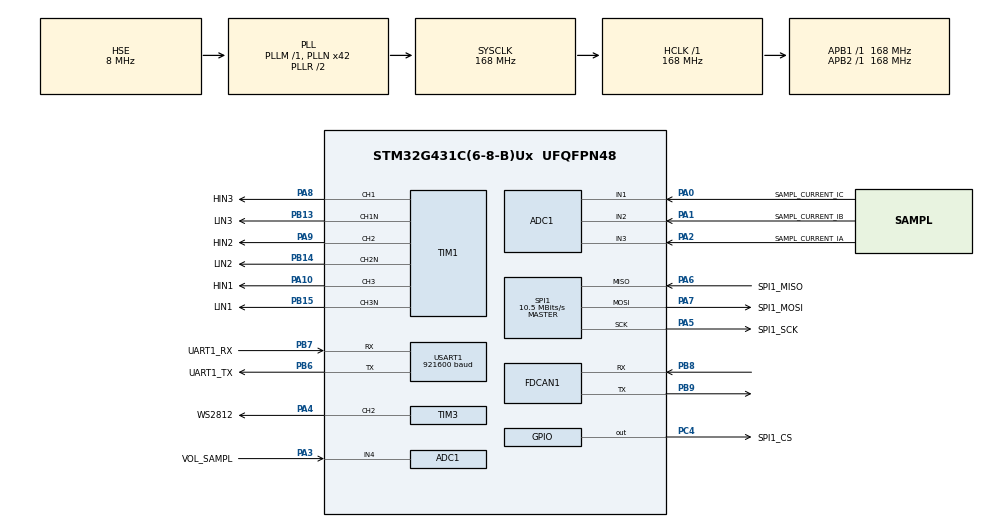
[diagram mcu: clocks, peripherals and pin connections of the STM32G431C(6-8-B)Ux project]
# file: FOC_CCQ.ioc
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ADC1.ContinuousConvMode=DISABLE
ADC1.DMAContinuousRequests=DISABLE
ADC1.EnableInjectedConversion=ENABLE
ADC1.EnableRegularConversion=DISABLE
ADC1.ExternalTrigInjecConv=ADC_EXTERNALTRIGINJEC_T1_CC4
ADC1.InjNumberOfConversion=4
ADC1.InjectedChannel-6\#ChannelInjectedConversion=ADC_CHANNEL_1
ADC1.InjectedChannel-7\#ChannelInjectedConversion=ADC_CHANNEL_2
ADC1.InjectedChannel-8\#ChannelInjectedConversion=ADC_CHANNEL_3
ADC1.InjectedChannel-9\#ChannelInjectedConversion=ADC_CHANNEL_4
ADC1.InjectedOffsetNumber-6\#ChannelInjectedConversion=ADC_OFFSET_NONE
ADC1.InjectedOffsetNumber-7\#ChannelInjectedConversion=ADC_OFFSET_NONE
ADC1.InjectedOffsetNumber-8\#ChannelInjectedConversion=ADC_OFFSET_NONE
ADC1.InjectedOffsetNumber-9\#ChannelInjectedConversion=ADC_OFFSET_NONE
ADC1.InjectedRank-6\#ChannelInjectedConversion=1
ADC1.InjectedRank-7\#ChannelInjectedConversion=2
ADC1.InjectedRank-8\#ChannelInjectedConversion=3
ADC1.InjectedRank-9\#ChannelInjectedConversion=4
ADC1.InjectedSamplingTime-6\#ChannelInjectedConversion=ADC_SAMPLETIME_6CYCLES_5
ADC1.InjectedSamplingTime-7\#ChannelInjectedConversion=ADC_SAMPLETIME_6CYCLES_5
ADC1.InjectedSamplingTime-8\#ChannelInjectedConversion=ADC_SAMPLETIME_6CYCLES_5
ADC1.InjectedSamplingTime-9\#ChannelInjectedConversion=ADC_SAMPLETIME_6CYCLES_5
ADC1.Rank1_Channel=ADC_CHANNEL_1
ADC1.Rank2_Channel=ADC_CHANNEL_2
ADC1.Rank3_Channel=ADC_CHANNEL_3
ADC1.Rank4_Channel=ADC_CHANNEL_4
ADC1.master=1
Dma.Request0=USART1_RX
Dma.Request1=USART1_TX
Dma.Request2=TIM3_CH2
Dma.TIM3_CH2.2.Direction=DMA_MEMORY_TO_PERIPH
Dma.TIM3_CH2.2.EventEnable=DISABLE
Dma.TIM3_CH2.2.Instance=DMA1_Channel1
Dma.TIM3_CH2.2.MemDataAlignment=DMA_MDATAALIGN_WORD
Dma.TIM3_CH2.2.MemInc=DMA_MINC_ENABLE
Dma.TIM3_CH2.2.Mode=DMA_NORMAL
Dma.TIM3_CH2.2.PeriphDataAlignment=DMA_PDATAALIGN_WORD
Dma.TIM3_CH2.2.PeriphInc=DMA_PINC_DISABLE
Dma.TIM3_CH2.2.Polarity=HAL_DMAMUX_REQ_GEN_RISING
Dma.TIM3_CH2.2.Priority=DMA_PRIORITY_MEDIUM
Dma.TIM3_CH2.2.RequestNumber=1
Dma.TIM3_CH2.2.SignalID=NONE
Dma.TIM3_CH2.2.SyncEnable=DISABLE
Dma.TIM3_CH2.2.SyncPolarity=HAL_DMAMUX_SYNC_NO_EVENT
Dma.TIM3_CH2.2.SyncRequestNumber=1
Dma.TIM3_CH2.2.SyncSignalID=NONE
Dma.USART1_RX.0.Direction=DMA_PERIPH_TO_MEMORY
Dma.USART1_RX.0.EventEnable=DISABLE
Dma.USART1_RX.0.Instance=DMA1_Channel3
Dma.USART1_RX.0.MemDataAlignment=DMA_MDATAALIGN_BYTE
Dma.USART1_RX.0.MemInc=DMA_MINC_ENABLE
Dma.USART1_RX.0.Mode=DMA_CIRCULAR
Dma.USART1_RX.0.PeriphDataAlignment=DMA_PDATAALIGN_BYTE
Dma.USART1_RX.0.PeriphInc=DMA_PINC_DISABLE
Dma.USART1_RX.0.Polarity=HAL_DMAMUX_REQ_GEN_RISING
Dma.USART1_RX.0.Priority=DMA_PRIORITY_HIGH
Dma.USART1_RX.0.RequestNumber=1
Dma.USART1_RX.0.SignalID=NONE
Dma.USART1_RX.0.SyncEnable=DISABLE
Dma.USART1_RX.0.SyncPolarity=HAL_DMAMUX_SYNC_NO_EVENT
Dma.USART1_RX.0.SyncRequestNumber=1
Dma.USART1_RX.0.SyncSignalID=NONE
Dma.USART1_TX.1.Direction=DMA_MEMORY_TO_PERIPH
Dma.USART1_TX.1.EventEnable=DISABLE
Dma.USART1_TX.1.Instance=DMA1_Channel4
Dma.USART1_TX.1.MemDataAlignment=DMA_MDATAALIGN_BYTE
Dma.USART1_TX.1.MemInc=DMA_MINC_ENABLE
Dma.USART1_TX.1.Mode=DMA_NORMAL
Dma.USART1_TX.1.PeriphDataAlignment=DMA_PDATAALIGN_BYTE
Dma.USART1_TX.1.PeriphInc=DMA_PINC_DISABLE
Dma.USART1_TX.1.Polarity=HAL_DMAMUX_REQ_GEN_RISING
Dma.USART1_TX.1.Priority=DMA_PRIORITY_HIGH
Dma.USART1_TX.1.RequestNumber=1
Dma.USART1_TX.1.SignalID=NONE
Dma.USART1_TX.1.SyncEnable=DISABLE
Dma.USART1_TX.1.SyncPolarity=HAL_DMAMUX_SYNC_NO_EVENT
Dma.USART1_TX.1.SyncRequestNumber=1
Dma.USART1_TX.1.SyncSignalID=NONE
FDCAN1.AutoRetransmission=ENABLE
FDCAN1.CalculateBaudRateNominal=1000000
FDCAN1.CalculateTimeBitNominal=1000
FDCAN1.CalculateTimeQuantumNominal=35.714285714285715
FDCAN1.DataPrescaler=6
FDCAN1.DataSyncJumpWidth=7
FDCAN1.DataTimeSeg1=20
FDCAN1.DataTimeSeg2=7
FDCAN1.FrameFormat=FDCAN_FRAME_FD_NO_BRS
FDCAN1.NominalPrescaler=6
FDCAN1.NominalSyncJumpWidth=7
FDCAN1.NominalTimeSeg1=20
FDCAN1.NominalTimeSeg2=7
FDCAN1.ProtocolException=ENABLE
FDCAN1.StdFiltersNbr=1
Mcu.Family=STM32G4
Mcu.Name=STM32G431C(6-8-B)Ux
Mcu.Package=UFQFPN48
Mcu.UserConstants=MCPWM_CLOCK_HZ,168000000;MCPWM_DEADTIME_CLOCKS,20;MCPWM_TGRO_TIME,MCPWM_PERIOD_CLOCKS-10;MCPWM_RCR,0;MCPWM_FREQ,20000;MCPWM_PERIOD_CLOCKS,MCPWM_CLOCK_HZ/2/MCPWM_FREQ
NVIC.ADC1_2_IRQn=true\:5\:0\:true\:false\:true\:true\:true\:true
NVIC.DMA1_Channel1_IRQn=true\:5\:0\:true\:false\:true\:true\:true\:true
NVIC.DMA1_Channel3_IRQn=true\:5\:0\:true\:false\:true\:false\:true\:true
NVIC.DMA1_Channel4_IRQn=true\:5\:0\:true\:false\:true\:true\:true\:true
NVIC.FDCAN1_IT0_IRQn=true\:6\:0\:true\:false\:true\:true\:true\:true
NVIC.FDCAN1_IT1_IRQn=true\:6\:0\:true\:false\:true\:true\:true\:true
NVIC.PriorityGroup=NVIC_PRIORITYGROUP_4
NVIC.TIM1_TRG_COM_TIM17_IRQn=true\:15\:0\:true\:false\:true\:true\:true\:true
NVIC.USART1_IRQn=true\:7\:0\:true\:false\:true\:true\:true\:true
PA0.GPIO_Label=SAMPL_CURRENT_IC
PA0.Mode=IN1-Single-Ended
PA0.Signal=ADC1_IN1
PA1.GPIO_Label=SAMPL_CURRENT_IB
PA1.Mode=IN2-Single-Ended
PA1.Signal=ADC1_IN2
PA10.GPIO_Label=HIN1
PA10.Signal=S_TIM1_CH3
PA13.Mode=Serial_Wire
PA13.Signal=SYS_JTMS-SWDIO
PA14.Mode=Serial_Wire
PA14.Signal=SYS_JTCK-SWCLK
PA2.GPIO_Label=SAMPL_CURRENT_IA
PA2.Mode=IN3-Single-Ended
PA2.Signal=ADC1_IN3
PA3.GPIO_Label=VOL_SAMPL
PA3.Mode=IN4-Single-Ended
PA3.Signal=ADC1_IN4
PA4.GPIO_Label=WS2812
PA4.Signal=S_TIM3_CH2
PA5.GPIO_Label=SPI1_SCK
PA5.GPIO_PuPd=GPIO_PULLUP
PA5.GPIO_Speed=GPIO_SPEED_FREQ_HIGH
PA5.Mode=Full_Duplex_Master
PA5.Signal=SPI1_SCK
PA6.GPIO_Label=SPI1_MISO
PA6.GPIO_PuPd=GPIO_PULLUP
PA6.GPIO_Speed=GPIO_SPEED_FREQ_HIGH
PA6.Mode=Full_Duplex_Master
PA6.Signal=SPI1_MISO
PA7.GPIO_Label=SPI1_MOSI
PA7.GPIO_PuPd=GPIO_PULLUP
PA7.GPIO_Speed=GPIO_SPEED_FREQ_HIGH
PA7.Mode=Full_Duplex_Master
PA7.Signal=SPI1_MOSI
PA8.GPIO_Label=HIN3
PA8.Signal=S_TIM1_CH1
PA9.GPIO_Label=HIN2
PA9.Signal=S_TIM1_CH2
PB13.GPIO_Label=LIN3
PB13.Mode=PWM Generation1 CH1 CH1N
PB13.Signal=TIM1_CH1N
PB14.GPIO_Label=LIN2
PB14.Mode=PWM Generation2 CH2 CH2N
PB14.Signal=TIM1_CH2N
PB15.GPIO_Label=LIN1
PB15.Mode=PWM Generation3 CH3 CH3N
PB15.Signal=TIM1_CH3N
PB6.GPIO_FM6=__NULL
PB6.GPIO_Label=UART1_TX
PB6.GPIO_Speed=GPIO_SPEED_FREQ_VERY_HIGH
PB6.Mode=Asynchronous
PB6.Signal=USART1_TX
PB7.GPIO_Label=UART1_RX
PB7.GPIO_Speed=GPIO_SPEED_FREQ_VERY_HIGH
PB7.Mode=Asynchronous
PB7.Signal=USART1_RX
PB8-BOOT0.GPIO_Speed=GPIO_SPEED_FREQ_VERY_HIGH
PB8-BOOT0.Mode=FDCAN_Activate
PB8-BOOT0.Signal=FDCAN1_RX
PB9.GPIO_Speed=GPIO_SPEED_FREQ_VERY_HIGH
PB9.Mode=FDCAN_Activate
PB9.Signal=FDCAN1_TX
PC4.GPIO_Label=SPI1_CS
PC4.GPIO_ModeDefaultOutputPP=GPIO_MODE_OUTPUT_PP
PC4.GPIO_PuPd=GPIO_NOPULL
PC4.GPIO_Speed=GPIO_SPEED_FREQ_VERY_HIGH
PC4.PinState=GPIO_PIN_RESET
PC4.Signal=GPIO_Output
PF0-OSC_IN.Mode=HSE-External-Oscillator
PF0-OSC_IN.Signal=RCC_OSC_IN
PF1-OSC_OUT.Mode=HSE-External-Oscillator
PF1-OSC_OUT.Signal=RCC_OSC_OUT
ProjectManager.HeapSize=0x200
ProjectManager.StackSize=0x400
ProjectManager.TargetToolchain=CMake
RCC.ADC12Freq_Value=168000000
RCC.AHBFreq_Value=168000000
RCC.APB1Freq_Value=168000000
RCC.APB1TimFreq_Value=168000000
RCC.APB2Freq_Value=168000000
RCC.APB2TimFreq_Value=168000000
RCC.CortexFreq_Value=168000000
RCC.EXTERNAL_CLOCK_VALUE=12288000
RCC.HCLKFreq_Value=168000000
RCC.HSE_VALUE=8000000
RCC.HSI48_VALUE=48000000
RCC.HSI_VALUE=16000000
RCC.LSE_VALUE=32768
RCC.PLLN=42
RCC.PLLSourceVirtual=RCC_PLLSOURCE_HSE
RCC.SYSCLKFreq_VALUE=168000000
RCC.SYSCLKSource=RCC_SYSCLKSOURCE_PLLCLK
RCC.USBFreq_Value=168000000
RCC.VCOOutputFreq_Value=336000000
SH.S_TIM1_CH1.0=TIM1_CH1,PWM Generation1 CH1 CH1N
SH.S_TIM1_CH2.0=TIM1_CH2,PWM Generation2 CH2 CH2N
SH.S_TIM1_CH3.0=TIM1_CH3,PWM Generation3 CH3 CH3N
SH.S_TIM3_CH2.0=TIM3_CH2,PWM Generation2 CH2
SPI1.BaudRatePrescaler=SPI_BAUDRATEPRESCALER_16
SPI1.CLKPhase=SPI_PHASE_2EDGE
SPI1.CLKPolarity=SPI_POLARITY_HIGH
SPI1.CalculateBaudRate=10.5 MBits/s
SPI1.DataSize=SPI_DATASIZE_8BIT
SPI1.Direction=SPI_DIRECTION_2LINES
SPI1.Mode=SPI_MODE_MASTER
SPI1.VirtualType=VM_MASTER
STMicroelectronics.FP-SNS-STAIOTCFT.1.1.0.MathOoLibCcCMSISJjDSPJjInclude=true
STMicroelectronics.FP-SNS-STAIOTCFT.1.1.0.MathOoLibCcCMSISJjDSPJjLib=true
TIM1.AutoReloadPreload=TIM_AUTORELOAD_PRELOAD_DISABLE
TIM1.BreakState=TIM_BREAK_DISABLE
TIM1.Channel-PWM\ Generation1\ CH1\ CH1N=TIM_CHANNEL_1
TIM1.Channel-PWM\ Generation2\ CH2\ CH2N=TIM_CHANNEL_2
TIM1.Channel-PWM\ Generation3\ CH3\ CH3N=TIM_CHANNEL_3
TIM1.Channel-PWM\ Generation4\ No\ Output=TIM_CHANNEL_4
TIM1.CounterMode=TIM_COUNTERMODE_CENTERALIGNED1
TIM1.DeadTime=MCPWM_DEADTIME_CLOCKS
TIM1.PeriodNoDither=MCPWM_PERIOD_CLOCKS
TIM1.PulseNoDither_4=MCPWM_TGRO_TIME
TIM1.RepetitionCounter=MCPWM_RCR
TIM1.TIM_MasterOutputTrigger=TIM_TRGO_OC4REF
TIM3.Channel-PWM\ Generation2\ CH2=TIM_CHANNEL_2
TIM3.PeriodNoDither=209
USART1.BaudRate=921600
USART1.VirtualMode-Asynchronous=VM_ASYNC
VP_STMicroelectronics.FP-SNS-STAIOTCFT_VS_CMSISJjMathOoLib_1.0.0_1.1.0.Mode=CMSISJjMathOoLib
VP_SYS_VS_DBSignals.Mode=DisableDeadBatterySignals
VP_TIM1_VS_no_output4.Mode=PWM Generation4 No Output
VP_TIM3_VS_ClockSourceINT.Mode=Internal
board=custom

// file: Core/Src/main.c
/* USER CODE BEGIN Header */
/**
 ******************************************************************************
 * @file           : main.c
 * @brief          : Main program body
 ******************************************************************************
 * @attention
 *
 * Copyright (c) 2026 STMicroelectronics.
 * All rights reserved.
 *
 * This software is licensed under terms that can be found in the LICENSE file
 * in the root directory of this software component.
 * If no LICENSE file comes with this software, it is provided AS-IS.
 *
 ******************************************************************************
 */
/* USER CODE END Header */
#include "main.h"
#include "adc.h"
#include "dma.h"
#include "fdcan.h"
#include "spi.h"
#include "tim.h"
#include "usart.h"
#include "gpio.h"

/* USER CODE BEGIN Includes */
#include "dwt.h"
#include "stmflash.h"
#include "ws2812.h"
#include "usart_printf.h"
#include "serial_control.h"
#include "motor_control.h"
#include "fdcan_control.h"
/* USER CODE END Includes */

void SystemClock_Config(void);
/* USER CODE BEGIN PFP */
void flash_init(void);
/* USER CODE END PFP */

int main(void)
{

  /* USER CODE BEGIN 1 */
  uint32_t state_i = 0;
  /* USER CODE END 1 */

  /* MCU Configuration--------------------------------------------------------*/

  /* Reset of all peripherals, Initializes the Flash interface and the Systick. */
  HAL_Init();

  /* Configure the system clock */
  SystemClock_Config();

  /* USER CODE BEGIN SysInit */
  flash_init(); // 初始化Flash
  /* USER CODE END SysInit */

  /* Initialize all configured peripherals */
  MX_GPIO_Init();
  MX_DMA_Init();
  MX_USART1_UART_Init();
  MX_TIM3_Init();
  MX_SPI1_Init();
  MX_ADC1_Init();
  MX_TIM1_Init();
  MX_FDCAN1_Init();
  /* USER CODE BEGIN 2 */
  DWT_Init(168);
  RGB_SetBrightness(15);                                  // 设置LED亮度
  RGB_DisplayColorById(GREEN_F);                            // 点亮RGB初始状态
  UART_StartRX_DMA();                                                 // 启动串口DMA循环接收
  UART_RegisterProtocolCallback(Protocol_CommandHandler);   // 注册协议命令回调
  Motor_StartControl();                                               // 启动PWM输出并开启注入式ADC采样

  FDCAN_Init();
  /* USER CODE END 2 */

  /* Infinite loop */
  /* USER CODE BEGIN WHILE */

  /* 第一次启动时写入FLASH */
  if (motor.foc.flash_data.first_run != 0)
  {
    motor.foc.flash_data.first_run = 0;
    stmflash_write(FLASH_ADDR, (uint32_t *)&motor.foc.flash_data, sizeof(motor.foc.flash_data) / 4);
    motor.State_Mode = STATE_MODE_RUNNING;    // 初始化之后切换到运行模式
    RGB_DisplayColorById(GREEN_F);   // 校准完成后显示绿色
  }

  /* 输出启动信息 */
  UART_Printf_DMA("\r\n=======================================\r\n");
  UART_Printf_DMA("  MY-FOC Serial Protocol Ready\r\n");
  UART_Printf_DMA("  Type $HELP for available commands\r\n");
  UART_Printf_DMA("=======================================\r\n");

  while (1)
  {
    /* USER CODE END WHILE */

    /* USER CODE BEGIN 3 */
    state_i++;

    UART_ProtocolProcess(); // 处理串口协议（检查是否有完整行到达）
    /* 每 100 ms 执行一次 */
    if ((state_i % 10U) == 0U)
    {

    }

    /* 每 1 s 执行一次 */
    if ((state_i % 100U) == 0U)
    {

      /*========================== 处理数据接收完成标志位 ===========================*/
      if (command_flag.data_received != 0)
      {
        command_flag.data_received = 0;

        /* 恢复出厂设置 */
        if (command_flag.reset != 0)
        {
          motor.foc.flash_data.first_run = 1;
          stmflash_write(FLASH_ADDR, (uint32_t *)&motor.foc.flash_data, sizeof(motor.foc.flash_data) / 4);
        }

        /* 检查是否需要写入FLASH */
        if (command_flag.flash_control != 0)
        {
          stmflash_write(FLASH_ADDR, (uint32_t *)&motor.foc.flash_data, sizeof(motor.foc.flash_data) / 4);
          command_flag.flash_control = 0;
        }
      }

      /*========================== CAN 每秒上报当前位置 ==========================*/
      {
          union { float f; uint8_t b[4]; } pos_val;
          pos_val.f = motor.foc.pos_fb;
          FDCAN_SendParamRsp(PARAM_POS_FB, pos_val.b, RSP_OK);
      }

      /*==========================心跳灯控制==========================*/
      switch (motor.State_Mode)
      {
        case STATE_MODE_IDLE:
          RGB_DisplayColorById(BLUE_F);   // 空闲状态显示蓝色
          break;
        case STATE_MODE_DETECTING:
          RGB_DisplayColorById(RED_F);    // 检测状态显示红色
          break;
        case STATE_MODE_RUNNING:                    // 运行状态绿色闪烁
          RGB_ToggleGreen();
          break;
        default:
          break;
      }
      state_i = 0U;
    }
    DWT_Delay_ms(10);
  }
  /* USER CODE END 3 */
}

void SystemClock_Config(void)
{
  RCC_OscInitTypeDef RCC_OscInitStruct = {0};
  RCC_ClkInitTypeDef RCC_ClkInitStruct = {0};

  /** Configure the main internal regulator output voltage
  */
  HAL_PWREx_ControlVoltageScaling(PWR_REGULATOR_VOLTAGE_SCALE1_BOOST);

  /** Initializes the RCC Oscillators according to the specified parameters
  * in the RCC_OscInitTypeDef structure.
  */
  RCC_OscInitStruct.OscillatorType = RCC_OSCILLATORTYPE_HSE;
  RCC_OscInitStruct.HSEState = RCC_HSE_ON;
  RCC_OscInitStruct.PLL.PLLState = RCC_PLL_ON;
  RCC_OscInitStruct.PLL.PLLSource = RCC_PLLSOURCE_HSE;
  RCC_OscInitStruct.PLL.PLLM = RCC_PLLM_DIV1;
  RCC_OscInitStruct.PLL.PLLN = 42;
  RCC_OscInitStruct.PLL.PLLP = RCC_PLLP_DIV2;
  RCC_OscInitStruct.PLL.PLLQ = RCC_PLLQ_DIV2;
  RCC_OscInitStruct.PLL.PLLR = RCC_PLLR_DIV2;
  if (HAL_RCC_OscConfig(&RCC_OscInitStruct) != HAL_OK)
  {
    Error_Handler();
  }

  /** Initializes the CPU, AHB and APB buses clocks
  */
  RCC_ClkInitStruct.ClockType = RCC_CLOCKTYPE_HCLK|RCC_CLOCKTYPE_SYSCLK
                              |RCC_CLOCKTYPE_PCLK1|RCC_CLOCKTYPE_PCLK2;
  RCC_ClkInitStruct.SYSCLKSource = RCC_SYSCLKSOURCE_PLLCLK;
  RCC_ClkInitStruct.AHBCLKDivider = RCC_SYSCLK_DIV1;
  RCC_ClkInitStruct.APB1CLKDivider = RCC_HCLK_DIV1;
  RCC_ClkInitStruct.APB2CLKDivider = RCC_HCLK_DIV1;

  if (HAL_RCC_ClockConfig(&RCC_ClkInitStruct, FLASH_LATENCY_4) != HAL_OK)
  {
    Error_Handler();
  }
}

/* USER CODE BEGIN 4 */

void flash_init(void)
{
  stmflash_read(FLASH_ADDR, (uint32_t *)&motor.foc.flash_data, sizeof(motor.foc.flash_data) / 4);
  if (motor.foc.flash_data.first_run != 0)
  {
    // 首次运行，初始化flash数据
    motor.foc.flash_data.version = 260710100;
    motor.foc.flash_data.iq_kp = IQ_KP;
    motor.foc.flash_data.iq_ki = IQ_KI;
    motor.foc.flash_data.iq_kd = ID_KD;
    motor.foc.flash_data.id_kp = ID_KP;
    motor.foc.flash_data.id_ki = ID_KI;
    motor.foc.flash_data.id_kd = ID_KD;
    motor.foc.flash_data.vel_kp = VEL_KP;
    motor.foc.flash_data.vel_ki = VEL_KI;
    motor.foc.flash_data.vel_kd = VEL_KD;
    motor.foc.flash_data.pos_kp = POS_KP;
    motor.foc.flash_data.pos_ki = 0.0f;
    motor.foc.flash_data.pos_kd = 0.0f;
    motor.State_Mode = STATE_MODE_DETECTING;    // 第一次上电在检测模式下校准电流和编码器
  }
}
/* USER CODE END 4 */

void Error_Handler(void)
{
  __disable_irq();
  while (1)
  {
  }
}
